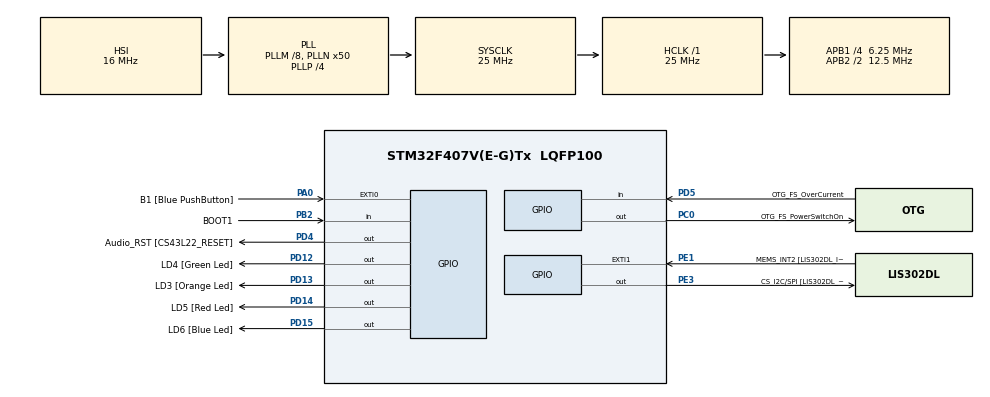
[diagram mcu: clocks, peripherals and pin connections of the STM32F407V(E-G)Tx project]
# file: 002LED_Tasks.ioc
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Mcu.Family=STM32F4
Mcu.Name=STM32F407V(E-G)Tx
Mcu.Package=LQFP100
NVIC.PriorityGroup=NVIC_PRIORITYGROUP_4
NVIC.TIM6_DAC_IRQn=true\:0\:0\:false\:false\:true\:false\:true\:true
NVIC.TimeBase=TIM6_DAC_IRQn
NVIC.TimeBaseIP=TIM6
PA0-WKUP.GPIO_Label=B1 [Blue PushButton]
PA0-WKUP.Signal=GPXTI0
PA10.GPIO_Label=OTG_FS_ID
PA10.GPIO_Mode=GPIO_MODE_AF_PP
PA10.GPIO_PuPd=GPIO_NOPULL
PA10.GPIO_Speed=GPIO_SPEED_FREQ_LOW
PA10.Signal=USB_OTG_FS_ID
PA11.GPIO_Label=OTG_FS_DM
PA11.GPIO_Mode=GPIO_MODE_AF_PP
PA11.GPIO_PuPd=GPIO_NOPULL
PA11.GPIO_Speed=GPIO_SPEED_FREQ_LOW
PA11.Signal=USB_OTG_FS_DM
PA12.GPIO_Label=OTG_FS_DP
PA12.GPIO_Mode=GPIO_MODE_AF_PP
PA12.GPIO_PuPd=GPIO_NOPULL
PA12.GPIO_Speed=GPIO_SPEED_FREQ_LOW
PA12.Signal=USB_OTG_FS_DP
PA13.GPIO_Label=SWDIO
PA13.Signal=SYS_JTMS-SWDIO
PA14.GPIO_Label=SWCLK
PA14.Signal=SYS_JTCK-SWCLK
PA4.GPIO_Label=I2S3_WS [CS43L22_LRCK]
PA4.GPIO_Mode=GPIO_MODE_AF_PP
PA4.GPIO_PuPd=GPIO_NOPULL
PA4.GPIO_Speed=GPIO_SPEED_FREQ_LOW
PA4.Signal=I2S3_WS
PA5.GPIO_Label=SPI1_SCK [LIS302DL_SCL/SPC]
PA5.GPIO_Mode=GPIO_MODE_AF_PP
PA5.GPIO_PuPd=GPIO_NOPULL
PA5.GPIO_Speed=GPIO_SPEED_FREQ_LOW
PA5.Signal=SPI1_SCK
PA6.GPIO_Label=SPI1_MISO [LIS302DL_SDO]
PA6.GPIO_Mode=GPIO_MODE_AF_PP
PA6.GPIO_PuPd=GPIO_NOPULL
PA6.GPIO_Speed=GPIO_SPEED_FREQ_LOW
PA6.Signal=SPI1_MISO
PA7.GPIO_Label=SPI1_MOSI [LIS302DL_SDA/SDI/SDO]
PA7.GPIO_Mode=GPIO_MODE_AF_PP
PA7.GPIO_PuPd=GPIO_NOPULL
PA7.GPIO_Speed=GPIO_SPEED_FREQ_LOW
PA7.Signal=SPI1_MOSI
PA9.GPIO_Label=VBUS_FS
PA9.GPIO_Mode=GPIO_MODE_INPUT
PA9.GPIO_PuPd=GPIO_NOPULL
PA9.Signal=USB_OTG_FS_VBUS
PB10.GPIO_Label=CLK_IN [MP45DT02_CLK]
PB10.GPIO_Mode=GPIO_MODE_AF_PP
PB10.GPIO_PuPd=GPIO_NOPULL
PB10.GPIO_Speed=GPIO_SPEED_FREQ_LOW
PB10.Signal=I2S2_CK
PB2.GPIO_Label=BOOT1
PB2.GPIO_Mode=GPIO_MODE_INPUT
PB2.GPIO_PuPd=GPIO_NOPULL
PB2.Signal=GPIO_Input
PB3.GPIO_Label=SWO
PB3.Signal=SYS_JTDO-SWO
PB6.GPIO_Label=Audio_SCL [CS43L22_SCL]
PB6.GPIO_Mode=GPIO_MODE_AF_OD
PB6.GPIO_PuPd=GPIO_NOPULL
PB6.GPIO_Speed=GPIO_SPEED_FREQ_LOW
PB6.Signal=I2C1_SCL
PB9.GPIO_Label=Audio_SDA [CS43L22_SDA]
PB9.GPIO_Mode=GPIO_MODE_AF_OD
PB9.GPIO_PuPd=GPIO_NOPULL
PB9.GPIO_Speed=GPIO_SPEED_FREQ_LOW
PB9.Signal=I2C1_SDA
PC0.GPIO_Label=OTG_FS_PowerSwitchOn
PC0.GPIO_PuPd=GPIO_NOPULL
PC0.GPIO_Speed=GPIO_SPEED_FREQ_LOW
PC0.PinState=GPIO_PIN_SET
PC0.Signal=GPIO_Output
PC10.GPIO_Label=I2S3_SCK [CS43L22_SCLK]
PC10.GPIO_Mode=GPIO_MODE_AF_PP
PC10.GPIO_PuPd=GPIO_NOPULL
PC10.GPIO_Speed=GPIO_SPEED_FREQ_LOW
PC10.Signal=I2S3_CK
PC12.GPIO_Label=I2S3_SD [CS43L22_SDIN]
PC12.GPIO_Mode=GPIO_MODE_AF_PP
PC12.GPIO_PuPd=GPIO_NOPULL
PC12.GPIO_Speed=GPIO_SPEED_FREQ_LOW
PC12.Signal=I2S3_SD
PC14-OSC32_IN.GPIO_Label=PC14-OSC32_IN
PC14-OSC32_IN.Signal=RCC_OSC32_IN
PC15-OSC32_OUT.GPIO_Label=PC15-OSC32_OUT
PC15-OSC32_OUT.Signal=RCC_OSC32_OUT
PC3.GPIO_Label=PDM_OUT [MP45DT02_DOUT]
PC3.GPIO_Mode=GPIO_MODE_AF_PP
PC3.GPIO_PuPd=GPIO_NOPULL
PC3.GPIO_Speed=GPIO_SPEED_FREQ_LOW
PC3.Signal=I2S2_SD
PC7.GPIO_Label=I2S3_MCK [CS43L22_MCLK]
PC7.GPIO_Mode=GPIO_MODE_AF_PP
PC7.GPIO_PuPd=GPIO_NOPULL
PC7.GPIO_Speed=GPIO_SPEED_FREQ_LOW
PC7.Signal=I2S3_MCK
PD12.GPIO_Label=LD4 [Green Led]
PD12.GPIO_PuPd=GPIO_NOPULL
PD12.GPIO_Speed=GPIO_SPEED_FREQ_LOW
PD12.Signal=GPIO_Output
PD13.GPIO_Label=LD3 [Orange Led]
PD13.GPIO_PuPd=GPIO_NOPULL
PD13.GPIO_Speed=GPIO_SPEED_FREQ_LOW
PD13.Signal=GPIO_Output
PD14.GPIO_Label=LD5 [Red Led]
PD14.GPIO_PuPd=GPIO_NOPULL
PD14.GPIO_Speed=GPIO_SPEED_FREQ_LOW
PD14.Signal=GPIO_Output
PD15.GPIO_Label=LD6 [Blue Led]
PD15.GPIO_PuPd=GPIO_NOPULL
PD15.GPIO_Speed=GPIO_SPEED_FREQ_LOW
PD15.Signal=GPIO_Output
PD4.GPIO_Label=Audio_RST [CS43L22_RESET]
PD4.GPIO_PuPd=GPIO_NOPULL
PD4.GPIO_Speed=GPIO_SPEED_FREQ_LOW
PD4.Signal=GPIO_Output
PD5.GPIO_Label=OTG_FS_OverCurrent
PD5.GPIO_Mode=GPIO_MODE_INPUT
PD5.GPIO_PuPd=GPIO_NOPULL
PD5.Signal=GPIO_Input
PE1.GPIO_Label=MEMS_INT2 [LIS302DL_INT2]
PE1.GPIO_ModeDefaultEXTI=GPIO_MODE_EVT_RISING
PE1.GPIO_PuPd=GPIO_NOPULL
PE1.Signal=GPXTI1
PE3.GPIO_Label=CS_I2C/SPI [LIS302DL_CS_I2C/SPI]
PE3.GPIO_PuPd=GPIO_NOPULL
PE3.GPIO_Speed=GPIO_SPEED_FREQ_LOW
PE3.Signal=GPIO_Output
PH0-OSC_IN.GPIO_Label=PH0-OSC_IN
PH0-OSC_IN.Signal=RCC_OSC_IN
PH1-OSC_OUT.GPIO_Label=PH1-OSC_OUT
PH1-OSC_OUT.Signal=RCC_OSC_OUT
ProjectManager.HeapSize=0x200
ProjectManager.StackSize=0x400
ProjectManager.TargetToolchain=STM32CubeIDE
RCC.48MHZClocksFreq_Value=14285714.285714285
RCC.AHBFreq_Value=25000000
RCC.APB1CLKDivider=RCC_HCLK_DIV4
RCC.APB1Freq_Value=6250000
RCC.APB1TimFreq_Value=12500000
RCC.APB2CLKDivider=RCC_HCLK_DIV2
RCC.APB2Freq_Value=12500000
RCC.APB2TimFreq_Value=25000000
RCC.CortexFreq_Value=25000000
RCC.HCLKFreq_Value=25000000
RCC.HSE_VALUE=8000000
RCC.HSI_VALUE=16000000
RCC.LSE_VALUE=32768
RCC.PLLM=8
RCC.PLLN=50
RCC.PLLP=RCC_PLLP_DIV4
RCC.PLLQ=7
RCC.SYSCLKFreq_VALUE=25000000
RCC.SYSCLKSource=RCC_SYSCLKSOURCE_PLLCLK
RCC.VCOOutputFreq_Value=100000000
VP_SYS_VS_tim6.Mode=TIM6
board=STM32F407G-DISC1

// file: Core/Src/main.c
/* USER CODE BEGIN Header */
/**
  ******************************************************************************
  * @file           : main.c
  * @brief          : Main program body
  ******************************************************************************
  * @attention
  *
  * Copyright (c) 2026 STMicroelectronics.
  * All rights reserved.
  *
  * This software is licensed under terms that can be found in the LICENSE file
  * in the root directory of this software component.
  * If no LICENSE file comes with this software, it is provided AS-IS.
  *
  ******************************************************************************
  */
/* USER CODE END Header */
#include "main.h"

/* USER CODE BEGIN Includes */
#include<stdio.h>
#include "FreeRTOS.h"
#include "task.h"
#include "SEGGER_SYSVIEW.h"
/* USER CODE END Includes */

/* USER CODE BEGIN PV */
#define DWT_CTRL	(*(volatile uint32_t*)0xE0001000)
/* USER CODE END PV */

void SystemClock_Config(void);
static void MX_GPIO_Init(void);
/* USER CODE BEGIN PFP */
static void led_green_handler(void * parameters);
static void led_red_handler(void * parameters);
static void led_orange_handler(void * parameters);
/* USER CODE END PFP */

int main(void)
{

  /* USER CODE BEGIN 1 */
	TaskHandle_t led_green_handle = NULL;
	TaskHandle_t led_red_handle = NULL;
	TaskHandle_t led_orange_handle = NULL;

	BaseType_t status;
  /* USER CODE END 1 */

  /* MCU Configuration--------------------------------------------------------*/

  /* Reset of all peripherals, Initializes the Flash interface and the Systick. */
  HAL_Init();

  /* Configure the system clock */
  SystemClock_Config();

  /* Initialize all configured peripherals */
  MX_GPIO_Init();
  /* USER CODE BEGIN 2 */
  // Enable the CYCCNT counter

  DWT_CTRL |= (1 << 0);

  status = xTaskCreate(led_green_handler, "LED_green_task", 200, NULL, 2, &led_green_handle);

  configASSERT(status == pdPASS);

  status = xTaskCreate(led_red_handler, "LED_red_task", 200, NULL, 2, &led_red_handle);

  configASSERT(status == pdPASS);

  status = xTaskCreate(led_orange_handler, "LED_yellow_task", 200, NULL, 2, &led_orange_handle);

  configASSERT(status == pdPASS);

  //start the freeRTOS scheduler
  vTaskStartScheduler();
  /* USER CODE END 2 */

  /* Infinite loop */
  while (1)
  {

  }
}

void SystemClock_Config(void)
{
  RCC_OscInitTypeDef RCC_OscInitStruct = {0};
  RCC_ClkInitTypeDef RCC_ClkInitStruct = {0};

  /** Configure the main internal regulator output voltage
  */
  __HAL_RCC_PWR_CLK_ENABLE();
  __HAL_PWR_VOLTAGESCALING_CONFIG(PWR_REGULATOR_VOLTAGE_SCALE1);

  /** Initializes the RCC Oscillators according to the specified parameters
  * in the RCC_OscInitTypeDef structure.
  */
  RCC_OscInitStruct.OscillatorType = RCC_OSCILLATORTYPE_HSI;
  RCC_OscInitStruct.HSIState = RCC_HSI_ON;
  RCC_OscInitStruct.HSICalibrationValue = RCC_HSICALIBRATION_DEFAULT;
  RCC_OscInitStruct.PLL.PLLState = RCC_PLL_ON;
  RCC_OscInitStruct.PLL.PLLSource = RCC_PLLSOURCE_HSI;
  RCC_OscInitStruct.PLL.PLLM = 8;
  RCC_OscInitStruct.PLL.PLLN = 50;
  RCC_OscInitStruct.PLL.PLLP = RCC_PLLP_DIV4;
  RCC_OscInitStruct.PLL.PLLQ = 7;
  if (HAL_RCC_OscConfig(&RCC_OscInitStruct) != HAL_OK)
  {
    Error_Handler();
  }

  /** Initializes the CPU, AHB and APB buses clocks
  */
  RCC_ClkInitStruct.ClockType = RCC_CLOCKTYPE_HCLK|RCC_CLOCKTYPE_SYSCLK
                              |RCC_CLOCKTYPE_PCLK1|RCC_CLOCKTYPE_PCLK2;
  RCC_ClkInitStruct.SYSCLKSource = RCC_SYSCLKSOURCE_PLLCLK;
  RCC_ClkInitStruct.AHBCLKDivider = RCC_SYSCLK_DIV1;
  RCC_ClkInitStruct.APB1CLKDivider = RCC_HCLK_DIV4;
  RCC_ClkInitStruct.APB2CLKDivider = RCC_HCLK_DIV2;

  if (HAL_RCC_ClockConfig(&RCC_ClkInitStruct, FLASH_LATENCY_0) != HAL_OK)
  {
    Error_Handler();
  }
}

static void MX_GPIO_Init(void)
{
  GPIO_InitTypeDef GPIO_InitStruct = {0};

  /* GPIO Ports Clock Enable */
  __HAL_RCC_GPIOE_CLK_ENABLE();
  __HAL_RCC_GPIOC_CLK_ENABLE();
  __HAL_RCC_GPIOH_CLK_ENABLE();
  __HAL_RCC_GPIOA_CLK_ENABLE();
  __HAL_RCC_GPIOB_CLK_ENABLE();
  __HAL_RCC_GPIOD_CLK_ENABLE();

  /*Configure GPIO pin Output Level */
  HAL_GPIO_WritePin(CS_I2C_SPI_GPIO_Port, CS_I2C_SPI_Pin, GPIO_PIN_RESET);

  /*Configure GPIO pin Output Level */
  HAL_GPIO_WritePin(OTG_FS_PowerSwitchOn_GPIO_Port, OTG_FS_PowerSwitchOn_Pin, GPIO_PIN_SET);

  /*Configure GPIO pin Output Level */
  HAL_GPIO_WritePin(GPIOD, LD4_Pin|LD3_Pin|LD5_Pin|LD6_Pin
                          |Audio_RST_Pin, GPIO_PIN_RESET);

  /*Configure GPIO pin : CS_I2C_SPI_Pin */
  GPIO_InitStruct.Pin = CS_I2C_SPI_Pin;
  GPIO_InitStruct.Mode = GPIO_MODE_OUTPUT_PP;
  GPIO_InitStruct.Pull = GPIO_NOPULL;
  GPIO_InitStruct.Speed = GPIO_SPEED_FREQ_LOW;
  HAL_GPIO_Init(CS_I2C_SPI_GPIO_Port, &GPIO_InitStruct);

  /*Configure GPIO pin : OTG_FS_PowerSwitchOn_Pin */
  GPIO_InitStruct.Pin = OTG_FS_PowerSwitchOn_Pin;
  GPIO_InitStruct.Mode = GPIO_MODE_OUTPUT_PP;
  GPIO_InitStruct.Pull = GPIO_NOPULL;
  GPIO_InitStruct.Speed = GPIO_SPEED_FREQ_LOW;
  HAL_GPIO_Init(OTG_FS_PowerSwitchOn_GPIO_Port, &GPIO_InitStruct);

  /*Configure GPIO pin : PDM_OUT_Pin */
  GPIO_InitStruct.Pin = PDM_OUT_Pin;
  GPIO_InitStruct.Mode = GPIO_MODE_AF_PP;
  GPIO_InitStruct.Pull = GPIO_NOPULL;
  GPIO_InitStruct.Speed = GPIO_SPEED_FREQ_LOW;
  GPIO_InitStruct.Alternate = GPIO_AF5_SPI2;
  HAL_GPIO_Init(PDM_OUT_GPIO_Port, &GPIO_InitStruct);

  /*Configure GPIO pin : B1_Pin */
  GPIO_InitStruct.Pin = B1_Pin;
  GPIO_InitStruct.Mode = GPIO_MODE_IT_RISING;
  GPIO_InitStruct.Pull = GPIO_NOPULL;
  HAL_GPIO_Init(B1_GPIO_Port, &GPIO_InitStruct);

  /*Configure GPIO pin : I2S3_WS_Pin */
  GPIO_InitStruct.Pin = I2S3_WS_Pin;
  GPIO_InitStruct.Mode = GPIO_MODE_AF_PP;
  GPIO_InitStruct.Pull = GPIO_NOPULL;
  GPIO_InitStruct.Speed = GPIO_SPEED_FREQ_LOW;
  GPIO_InitStruct.Alternate = GPIO_AF6_SPI3;
  HAL_GPIO_Init(I2S3_WS_GPIO_Port, &GPIO_InitStruct);

  /*Configure GPIO pins : SPI1_SCK_Pin SPI1_MISO_Pin SPI1_MOSI_Pin */
  GPIO_InitStruct.Pin = SPI1_SCK_Pin|SPI1_MISO_Pin|SPI1_MOSI_Pin;
  GPIO_InitStruct.Mode = GPIO_MODE_AF_PP;
  GPIO_InitStruct.Pull = GPIO_NOPULL;
  GPIO_InitStruct.Speed = GPIO_SPEED_FREQ_LOW;
  GPIO_InitStruct.Alternate = GPIO_AF5_SPI1;
  HAL_GPIO_Init(GPIOA, &GPIO_InitStruct);

  /*Configure GPIO pin : BOOT1_Pin */
  GPIO_InitStruct.Pin = BOOT1_Pin;
  GPIO_InitStruct.Mode = GPIO_MODE_INPUT;
  GPIO_InitStruct.Pull = GPIO_NOPULL;
  HAL_GPIO_Init(BOOT1_GPIO_Port, &GPIO_InitStruct);

  /*Configure GPIO pin : CLK_IN_Pin */
  GPIO_InitStruct.Pin = CLK_IN_Pin;
  GPIO_InitStruct.Mode = GPIO_MODE_AF_PP;
  GPIO_InitStruct.Pull = GPIO_NOPULL;
  GPIO_InitStruct.Speed = GPIO_SPEED_FREQ_LOW;
  GPIO_InitStruct.Alternate = GPIO_AF5_SPI2;
  HAL_GPIO_Init(CLK_IN_GPIO_Port, &GPIO_InitStruct);

  /*Configure GPIO pins : LD4_Pin LD3_Pin LD5_Pin LD6_Pin
                           Audio_RST_Pin */
  GPIO_InitStruct.Pin = LD4_Pin|LD3_Pin|LD5_Pin|LD6_Pin
                          |Audio_RST_Pin;
  GPIO_InitStruct.Mode = GPIO_MODE_OUTPUT_PP;
  GPIO_InitStruct.Pull = GPIO_NOPULL;
  GPIO_InitStruct.Speed = GPIO_SPEED_FREQ_LOW;
  HAL_GPIO_Init(GPIOD, &GPIO_InitStruct);

  /*Configure GPIO pins : I2S3_MCK_Pin I2S3_SCK_Pin I2S3_SD_Pin */
  GPIO_InitStruct.Pin = I2S3_MCK_Pin|I2S3_SCK_Pin|I2S3_SD_Pin;
  GPIO_InitStruct.Mode = GPIO_MODE_AF_PP;
  GPIO_InitStruct.Pull = GPIO_NOPULL;
  GPIO_InitStruct.Speed = GPIO_SPEED_FREQ_LOW;
  GPIO_InitStruct.Alternate = GPIO_AF6_SPI3;
  HAL_GPIO_Init(GPIOC, &GPIO_InitStruct);

  /*Configure GPIO pin : VBUS_FS_Pin */
  GPIO_InitStruct.Pin = VBUS_FS_Pin;
  GPIO_InitStruct.Mode = GPIO_MODE_INPUT;
  GPIO_InitStruct.Pull = GPIO_NOPULL;
  HAL_GPIO_Init(VBUS_FS_GPIO_Port, &GPIO_InitStruct);

  /*Configure GPIO pins : OTG_FS_ID_Pin OTG_FS_DM_Pin OTG_FS_DP_Pin */
  GPIO_InitStruct.Pin = OTG_FS_ID_Pin|OTG_FS_DM_Pin|OTG_FS_DP_Pin;
  GPIO_InitStruct.Mode = GPIO_MODE_AF_PP;
  GPIO_InitStruct.Pull = GPIO_NOPULL;
  GPIO_InitStruct.Speed = GPIO_SPEED_FREQ_LOW;
  GPIO_InitStruct.Alternate = GPIO_AF10_OTG_FS;
  HAL_GPIO_Init(GPIOA, &GPIO_InitStruct);

  /*Configure GPIO pin : OTG_FS_OverCurrent_Pin */
  GPIO_InitStruct.Pin = OTG_FS_OverCurrent_Pin;
  GPIO_InitStruct.Mode = GPIO_MODE_INPUT;
  GPIO_InitStruct.Pull = GPIO_NOPULL;
  HAL_GPIO_Init(OTG_FS_OverCurrent_GPIO_Port, &GPIO_InitStruct);

  /*Configure GPIO pins : Audio_SCL_Pin Audio_SDA_Pin */
  GPIO_InitStruct.Pin = Audio_SCL_Pin|Audio_SDA_Pin;
  GPIO_InitStruct.Mode = GPIO_MODE_AF_OD;
  GPIO_InitStruct.Pull = GPIO_NOPULL;
  GPIO_InitStruct.Speed = GPIO_SPEED_FREQ_LOW;
  GPIO_InitStruct.Alternate = GPIO_AF4_I2C1;
  HAL_GPIO_Init(GPIOB, &GPIO_InitStruct);

  /*Configure GPIO pin : MEMS_INT2_Pin */
  GPIO_InitStruct.Pin = MEMS_INT2_Pin;
  GPIO_InitStruct.Mode = GPIO_MODE_EVT_RISING;
  GPIO_InitStruct.Pull = GPIO_NOPULL;
  HAL_GPIO_Init(MEMS_INT2_GPIO_Port, &GPIO_InitStruct);

}

/* USER CODE BEGIN 4 */
static void led_green_handler(void * parameters)
{
	while(1)
	{
		//SEGGER SYSVIEW PrintfTarget("Toggling green LED")
		HAL_GPIO_TogglePin(GPIOD, LED_GREEN_PIN);
		HAL_Delay(1000);
	}
}
static void led_orange_handler(void * parameters)
{
	while(1)
	{
		//SEGGER SYSVIEW PrintfTarget("Toggling green LED")
		HAL_GPIO_TogglePin(GPIOD, LED_ORANGE_PIN);
		HAL_Delay(800);
	}
}
static void led_red_handler(void * parameters)
{
	while(1)
	{
		//SEGGER SYSVIEW PrintfTarget("Toggling green LED")
		HAL_GPIO_TogglePin(GPIOD, LED_RED_PIN);
		HAL_Delay(400);
	}
}
/* USER CODE END 4 */

void HAL_TIM_PeriodElapsedCallback(TIM_HandleTypeDef *htim)
{
  if (htim->Instance == TIM6)
  {
    HAL_IncTick();
  }
}

void Error_Handler(void)
{
  __disable_irq();
  while (1)
  {
  }
}
